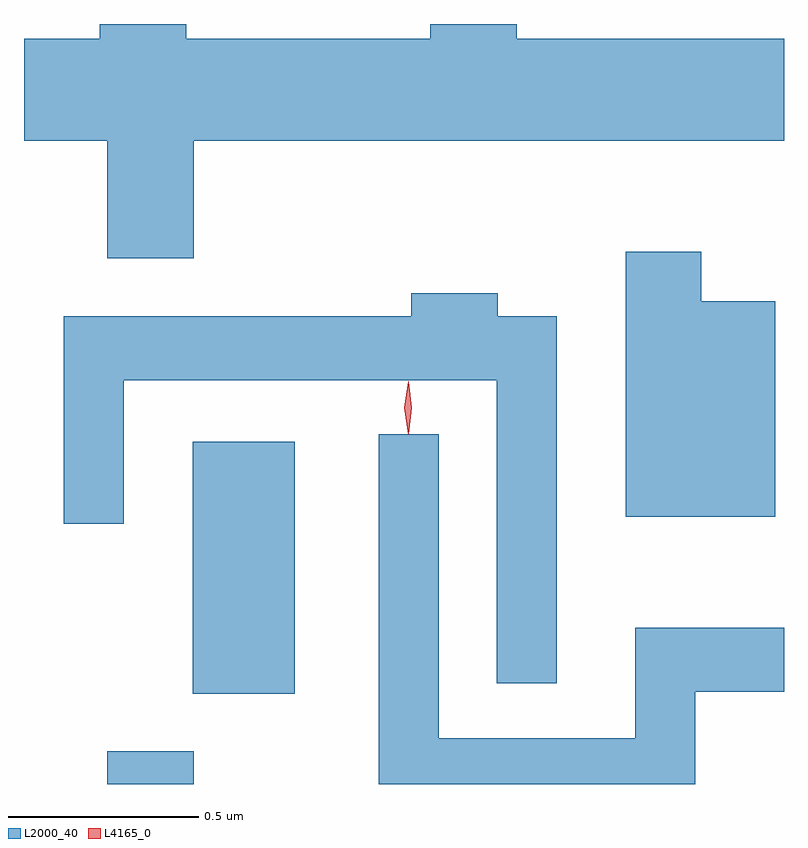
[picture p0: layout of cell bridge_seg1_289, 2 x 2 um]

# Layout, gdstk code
import gdstk
lib = gdstk.Library(unit=1e-6, precision=1e-09)
def R(c, l, rs):  # rectangles x0, y0, x1, y1
    for r in rs: c.add(gdstk.rectangle(r[:2], r[2:], *l))
def P(c, l, *ps):  # polygons
    for p in ps: c.add(gdstk.Polygon(p, *l))
L2000_40 = (2000, 40)
L4165_0 = (4165, 0)

bridge_seg1_289 = lib.new_cell('bridge_seg1_289')
R(bridge_seg1_289, L2000_40, [(847.371,902.323,847.599,902.409), (847.596,902.561,847.864,903.224)])
P(bridge_seg1_289, L2000_40, [(847.599,904.016),(849.152,904.016),(849.152,904.284),(848.449,904.284),(848.449,904.323),(848.221,904.323),(848.221,904.284),(847.579,904.284),(847.579,904.323),(847.351,904.323),(847.351,904.284),(847.152,904.284),(847.152,904.016),(847.371,904.016),(847.371,903.706),(847.599,903.706)],
  [(849.129,903.594),(848.934,903.594),(848.934,903.724),(848.736,903.724),(848.736,903.026),(849.129,903.026)],
  [(848.554,903.554),(848.399,903.554),(848.399,903.614),(848.171,903.614),(848.171,903.554),(847.256,903.554),(847.256,903.008),(847.414,903.008),(847.414,903.386),(848.396,903.386),(848.396,902.588),(848.554,902.588)],
  [(848.919,902.566),(849.152,902.566),(849.152,902.734),(848.761,902.734),(848.761,902.444),(848.244,902.444),(848.244,903.243),(848.086,903.243),(848.086,902.323),(848.919,902.323)])
P(bridge_seg1_289, L4165_0, [(848.163,903.243),(848.163,903.244),(848.153,903.313),(848.163,903.382),(848.163,903.383),(848.164,903.382),(848.173,903.313),(848.164,903.244)])

lib.write_gds('bridge_seg1_289.gds')
